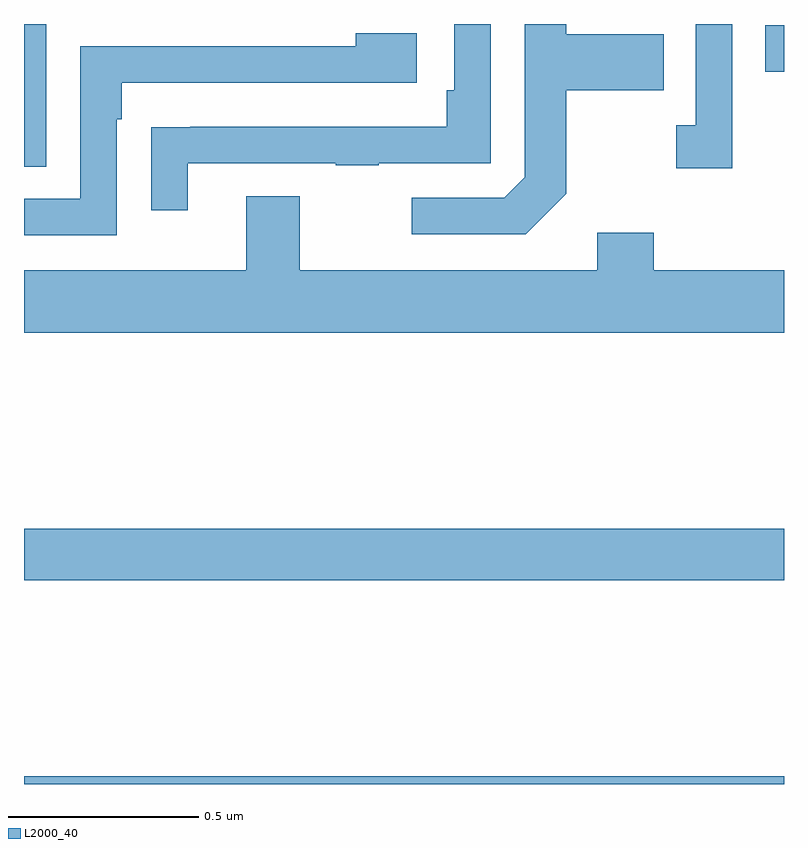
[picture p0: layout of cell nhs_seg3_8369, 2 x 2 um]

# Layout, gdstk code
import gdstk
lib = gdstk.Library(unit=1e-6, precision=1e-09)
def R(c, l, rs):  # rectangles x0, y0, x1, y1
    for r in rs: c.add(gdstk.rectangle(r[:2], r[2:], *l))
def P(c, l, *ps):  # polygons
    for p in ps: c.add(gdstk.Polygon(p, *l))
L2000_40 = (2000, 40)

nhs_seg3_8369 = lib.new_cell('nhs_seg3_8369')
R(nhs_seg3_8369, L2000_40, [(215,694.4,217,694.42), (215,694.936,217,695.072), (215,696.025,215.058,696.4), (216.951,696.275,217,696.397)])
P(nhs_seg3_8369, L2000_40, [(216.427,695.953),(216.427,696.226),(216.683,696.226),(216.683,696.373),(216.427,696.373),(216.427,696.4),(216.318,696.4),(216.318,695.997),(216.264,695.943),(216.021,695.943),(216.021,695.847),(216.321,695.847)],
  [(216.864,696.4),(216.768,696.4),(216.768,696.134),(216.717,696.134),(216.717,696.021),(216.864,696.021)],
  [(215.431,696.033),(215.821,696.033),(215.821,696.028),(215.933,696.028),(215.933,696.033),(216.228,696.033),(216.228,696.4),(216.132,696.4),(216.132,696.226),(216.112,696.226),(216.112,696.129),(215.437,696.129),(215.437,696.128),(215.335,696.128),(215.335,695.91),(215.431,695.91)],
  [(215.244,696.149),(215.257,696.149),(215.257,696.246),(216.034,696.246),(216.034,696.376),(215.873,696.376),(215.873,696.342),(215.148,696.342),(215.148,695.94),(215,695.94),(215,695.844),(215.244,695.844)],
  [(217,695.752),(216.657,695.752),(216.657,695.851),(216.509,695.851),(216.509,695.752),(215.725,695.752),(215.725,695.947),(215.585,695.947),(215.585,695.752),(215,695.752),(215,695.588),(217,695.588)])

lib.write_gds('nhs_seg3_8369.gds')
